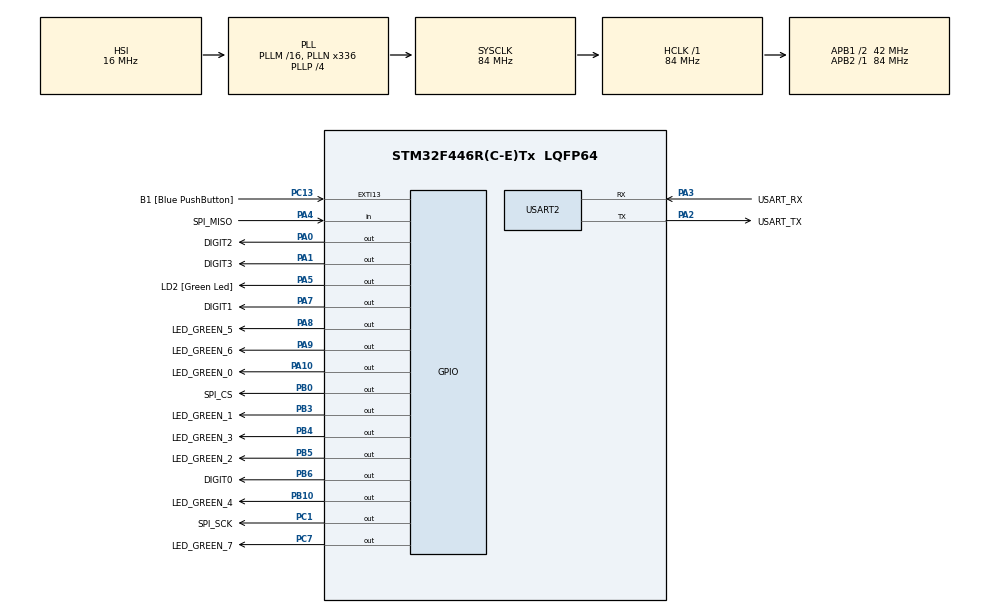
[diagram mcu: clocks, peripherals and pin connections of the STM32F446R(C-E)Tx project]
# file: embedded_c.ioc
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Mcu.Family=STM32F4
Mcu.Name=STM32F446R(C-E)Tx
Mcu.Package=LQFP64
NVIC.PriorityGroup=NVIC_PRIORITYGROUP_0
NVIC.TIM6_DAC_IRQn=true\:0\:0\:false\:false\:true\:true\:true\:true
PA0-WKUP.GPIO_Label=DIGIT2
PA0-WKUP.Signal=GPIO_Output
PA1.GPIO_Label=DIGIT3
PA1.Signal=GPIO_Output
PA10.GPIO_Label=LED_GREEN_0
PA10.Signal=GPIO_Output
PA13.GPIO_Label=TMS
PA13.Mode=Serial_Wire
PA13.Signal=SYS_JTMS-SWDIO
PA14.GPIO_Label=TCK
PA14.Mode=Serial_Wire
PA14.Signal=SYS_JTCK-SWCLK
PA2.GPIO_Label=USART_TX
PA2.Mode=Asynchronous
PA2.Signal=USART2_TX
PA3.GPIO_Label=USART_RX
PA3.Mode=Asynchronous
PA3.Signal=USART2_RX
PA4.GPIO_Label=SPI_MISO
PA4.Signal=GPIO_Input
PA5.GPIO_Label=LD2 [Green Led]
PA5.Signal=GPIO_Output
PA7.GPIO_Label=DIGIT1
PA7.Signal=GPIO_Output
PA8.GPIO_Label=LED_GREEN_5
PA8.Signal=GPIO_Output
PA9.GPIO_Label=LED_GREEN_6
PA9.Signal=GPIO_Output
PB0.GPIO_Label=SPI_CS
PB0.Signal=GPIO_Output
PB10.GPIO_Label=LED_GREEN_4
PB10.Signal=GPIO_Output
PB3.GPIO_Label=LED_GREEN_1
PB3.Signal=GPIO_Output
PB4.GPIO_Label=LED_GREEN_3
PB4.Signal=GPIO_Output
PB5.GPIO_Label=LED_GREEN_2
PB5.Signal=GPIO_Output
PB6.GPIO_Label=DIGIT0
PB6.Signal=GPIO_Output
PC1.GPIO_Label=SPI_SCK
PC1.Signal=GPIO_Output
PC13.GPIO_Label=B1 [Blue PushButton]
PC13.GPIO_ModeDefaultEXTI=GPIO_MODE_IT_FALLING
PC13.Signal=GPXTI13
PC14-OSC32_IN.Mode=LSE-External-Oscillator
PC14-OSC32_IN.Signal=RCC_OSC32_IN
PC15-OSC32_OUT.Mode=LSE-External-Oscillator
PC15-OSC32_OUT.Signal=RCC_OSC32_OUT
PC7.GPIO_Label=LED_GREEN_7
PC7.Signal=GPIO_Output
PH0-OSC_IN.Mode=HSE-External-Oscillator
PH0-OSC_IN.Signal=RCC_OSC_IN
PH1-OSC_OUT.Mode=HSE-External-Oscillator
PH1-OSC_OUT.Signal=RCC_OSC_OUT
ProjectManager.HeapSize=0x1000
ProjectManager.StackSize=0x2000
ProjectManager.TargetToolchain=STM32CubeIDE
RCC.48MHZClocksFreq_Value=84000000
RCC.AHBFreq_Value=84000000
RCC.APB1CLKDivider=RCC_HCLK_DIV2
RCC.APB1Freq_Value=42000000
RCC.APB1TimFreq_Value=84000000
RCC.APB2Freq_Value=84000000
RCC.APB2TimFreq_Value=84000000
RCC.CortexFreq_Value=84000000
RCC.FLatency-AdvancedSettings=FLASH_LATENCY_2
RCC.HCLKFreq_Value=84000000
RCC.HSE_VALUE=8000000
RCC.HSI_VALUE=16000000
RCC.PLLN=336
RCC.PLLP=RCC_PLLP_DIV4
RCC.SYSCLKFreq_VALUE=84000000
RCC.SYSCLKSource=RCC_SYSCLKSOURCE_PLLCLK
RCC.USBFreq_Value=168000000
RCC.VCOOutputFreq_Value=336000000
TIM6.Period=9
TIM6.Prescaler=1049
USART2.VirtualMode=VM_ASYNC
VP_TIM6_VS_ClockSourceINT.Mode=Enable_Timer
board=NUCLEO-F446RE

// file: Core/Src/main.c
/* USER CODE BEGIN Header */
/**
  ******************************************************************************
  * @file           : main.c
  * @brief          : Main program body
  ******************************************************************************
  * @attention
  *
  * Copyright (c) 2025 STMicroelectronics.
  * All rights reserved.
  *
  * This software is licensed under terms that can be found in the LICENSE file
  * in the root directory of this software component.
  * If no LICENSE file comes with this software, it is provided AS-IS.
  *
  ******************************************************************************
  */
/* USER CODE END Header */
#include "main.h"

/* USER CODE BEGIN Includes */
#include <stdio.h>
#include <stdbool.h>
#include <stdint.h>
#include <math.h>

#include "seven_seg.h"
#include "max6675.h"
/* USER CODE END Includes */

TIM_HandleTypeDef htim6;

UART_HandleTypeDef huart2;

void SystemClock_Config(void);
static void MX_GPIO_Init(void);
static void MX_USART2_UART_Init(void);
static void MX_TIM6_Init(void);

/* USER CODE BEGIN 0 */
uint16_t cntr = 0;

/* USER CODE END 0 */

int main(void)
{

  /* MCU Configuration--------------------------------------------------------*/

  /* Reset of all peripherals, Initializes the Flash interface and the Systick. */
  HAL_Init();

  /* Configure the system clock */
  SystemClock_Config();

  /* Initialize all configured peripherals */
  MX_GPIO_Init();
  MX_USART2_UART_Init();
  MX_TIM6_Init();
  /* USER CODE BEGIN 2 */
  HAL_GPIO_WritePin(DIGIT0_GPIO_Port, DIGIT0_Pin, GPIO_PIN_SET);
  HAL_GPIO_WritePin(DIGIT1_GPIO_Port, DIGIT1_Pin, GPIO_PIN_SET);
  HAL_GPIO_WritePin(DIGIT2_GPIO_Port, DIGIT2_Pin, GPIO_PIN_SET);
  HAL_GPIO_WritePin(DIGIT3_GPIO_Port, DIGIT3_Pin, GPIO_PIN_SET);
  HAL_GPIO_WritePin(SPI_CS_GPIO_Port, SPI_CS_Pin, GPIO_PIN_SET);
  HAL_TIM_Base_Start_IT(&htim6);
  /* USER CODE END 2 */

  /* Infinite loop */
  /* USER CODE BEGIN WHILE */
  while (1)
  {
    float temp_C = TEMP_read();
    if (temp_C < 100.0f)
    {
    	SSD_printDecFloat(temp_C, 2);
    }
    else if (temp_C < 1000.0f)
    {
    	SSD_printDecFloat(temp_C, 1);
    }
    else
    {
    	SSD_printDecInt16(temp_C);
    }

    SSD_triggerUpdate = true;
	cntr++;
    HAL_Delay(500);
    /* USER CODE END WHILE */

  }
}

void SystemClock_Config(void)
{
  RCC_OscInitTypeDef RCC_OscInitStruct = {0};
  RCC_ClkInitTypeDef RCC_ClkInitStruct = {0};

  /** Configure the main internal regulator output voltage
  */
  __HAL_RCC_PWR_CLK_ENABLE();
  __HAL_PWR_VOLTAGESCALING_CONFIG(PWR_REGULATOR_VOLTAGE_SCALE3);

  /** Initializes the RCC Oscillators according to the specified parameters
  * in the RCC_OscInitTypeDef structure.
  */
  RCC_OscInitStruct.OscillatorType = RCC_OSCILLATORTYPE_HSI;
  RCC_OscInitStruct.HSIState = RCC_HSI_ON;
  RCC_OscInitStruct.HSICalibrationValue = RCC_HSICALIBRATION_DEFAULT;
  RCC_OscInitStruct.PLL.PLLState = RCC_PLL_ON;
  RCC_OscInitStruct.PLL.PLLSource = RCC_PLLSOURCE_HSI;
  RCC_OscInitStruct.PLL.PLLM = 16;
  RCC_OscInitStruct.PLL.PLLN = 336;
  RCC_OscInitStruct.PLL.PLLP = RCC_PLLP_DIV4;
  RCC_OscInitStruct.PLL.PLLQ = 2;
  RCC_OscInitStruct.PLL.PLLR = 2;
  if (HAL_RCC_OscConfig(&RCC_OscInitStruct) != HAL_OK)
  {
    Error_Handler();
  }

  /** Initializes the CPU, AHB and APB buses clocks
  */
  RCC_ClkInitStruct.ClockType = RCC_CLOCKTYPE_HCLK|RCC_CLOCKTYPE_SYSCLK
                              |RCC_CLOCKTYPE_PCLK1|RCC_CLOCKTYPE_PCLK2;
  RCC_ClkInitStruct.SYSCLKSource = RCC_SYSCLKSOURCE_PLLCLK;
  RCC_ClkInitStruct.AHBCLKDivider = RCC_SYSCLK_DIV1;
  RCC_ClkInitStruct.APB1CLKDivider = RCC_HCLK_DIV2;
  RCC_ClkInitStruct.APB2CLKDivider = RCC_HCLK_DIV1;

  if (HAL_RCC_ClockConfig(&RCC_ClkInitStruct, FLASH_LATENCY_2) != HAL_OK)
  {
    Error_Handler();
  }
}

static void MX_TIM6_Init(void)
{

  TIM_MasterConfigTypeDef sMasterConfig = {0};

  htim6.Instance = TIM6;
  htim6.Init.Prescaler = 1049;
  htim6.Init.CounterMode = TIM_COUNTERMODE_UP;
  htim6.Init.Period = 9;
  htim6.Init.AutoReloadPreload = TIM_AUTORELOAD_PRELOAD_DISABLE;
  if (HAL_TIM_Base_Init(&htim6) != HAL_OK)
  {
    Error_Handler();
  }
  sMasterConfig.MasterOutputTrigger = TIM_TRGO_RESET;
  sMasterConfig.MasterSlaveMode = TIM_MASTERSLAVEMODE_DISABLE;
  if (HAL_TIMEx_MasterConfigSynchronization(&htim6, &sMasterConfig) != HAL_OK)
  {
    Error_Handler();
  }

}

static void MX_USART2_UART_Init(void)
{

  huart2.Instance = USART2;
  huart2.Init.BaudRate = 115200;
  huart2.Init.WordLength = UART_WORDLENGTH_8B;
  huart2.Init.StopBits = UART_STOPBITS_1;
  huart2.Init.Parity = UART_PARITY_NONE;
  huart2.Init.Mode = UART_MODE_TX_RX;
  huart2.Init.HwFlowCtl = UART_HWCONTROL_NONE;
  huart2.Init.OverSampling = UART_OVERSAMPLING_16;
  if (HAL_UART_Init(&huart2) != HAL_OK)
  {
    Error_Handler();
  }

}

static void MX_GPIO_Init(void)
{
  GPIO_InitTypeDef GPIO_InitStruct = {0};

  /* GPIO Ports Clock Enable */
  __HAL_RCC_GPIOC_CLK_ENABLE();
  __HAL_RCC_GPIOH_CLK_ENABLE();
  __HAL_RCC_GPIOA_CLK_ENABLE();
  __HAL_RCC_GPIOB_CLK_ENABLE();

  /*Configure GPIO pin Output Level */
  HAL_GPIO_WritePin(GPIOC, SPI_SCK_Pin|LED_GREEN_7_Pin, GPIO_PIN_RESET);

  /*Configure GPIO pin Output Level */
  HAL_GPIO_WritePin(GPIOA, DIGIT2_Pin|DIGIT3_Pin|LD2_Pin|DIGIT1_Pin
                          |LED_GREEN_5_Pin|LED_GREEN_6_Pin|LED_GREEN_0_Pin, GPIO_PIN_RESET);

  /*Configure GPIO pin Output Level */
  HAL_GPIO_WritePin(GPIOB, SPI_CS_Pin|LED_GREEN_4_Pin|LED_GREEN_1_Pin|LED_GREEN_3_Pin
                          |LED_GREEN_2_Pin|DIGIT0_Pin, GPIO_PIN_RESET);

  /*Configure GPIO pin : B1_Pin */
  GPIO_InitStruct.Pin = B1_Pin;
  GPIO_InitStruct.Mode = GPIO_MODE_IT_FALLING;
  GPIO_InitStruct.Pull = GPIO_NOPULL;
  HAL_GPIO_Init(B1_GPIO_Port, &GPIO_InitStruct);

  /*Configure GPIO pins : SPI_SCK_Pin LED_GREEN_7_Pin */
  GPIO_InitStruct.Pin = SPI_SCK_Pin|LED_GREEN_7_Pin;
  GPIO_InitStruct.Mode = GPIO_MODE_OUTPUT_PP;
  GPIO_InitStruct.Pull = GPIO_NOPULL;
  GPIO_InitStruct.Speed = GPIO_SPEED_FREQ_LOW;
  HAL_GPIO_Init(GPIOC, &GPIO_InitStruct);

  /*Configure GPIO pins : DIGIT2_Pin DIGIT3_Pin LD2_Pin DIGIT1_Pin
                           LED_GREEN_5_Pin LED_GREEN_6_Pin LED_GREEN_0_Pin */
  GPIO_InitStruct.Pin = DIGIT2_Pin|DIGIT3_Pin|LD2_Pin|DIGIT1_Pin
                          |LED_GREEN_5_Pin|LED_GREEN_6_Pin|LED_GREEN_0_Pin;
  GPIO_InitStruct.Mode = GPIO_MODE_OUTPUT_PP;
  GPIO_InitStruct.Pull = GPIO_NOPULL;
  GPIO_InitStruct.Speed = GPIO_SPEED_FREQ_LOW;
  HAL_GPIO_Init(GPIOA, &GPIO_InitStruct);

  /*Configure GPIO pin : SPI_MISO_Pin */
  GPIO_InitStruct.Pin = SPI_MISO_Pin;
  GPIO_InitStruct.Mode = GPIO_MODE_INPUT;
  GPIO_InitStruct.Pull = GPIO_NOPULL;
  HAL_GPIO_Init(SPI_MISO_GPIO_Port, &GPIO_InitStruct);

  /*Configure GPIO pins : SPI_CS_Pin LED_GREEN_4_Pin LED_GREEN_1_Pin LED_GREEN_3_Pin
                           LED_GREEN_2_Pin DIGIT0_Pin */
  GPIO_InitStruct.Pin = SPI_CS_Pin|LED_GREEN_4_Pin|LED_GREEN_1_Pin|LED_GREEN_3_Pin
                          |LED_GREEN_2_Pin|DIGIT0_Pin;
  GPIO_InitStruct.Mode = GPIO_MODE_OUTPUT_PP;
  GPIO_InitStruct.Pull = GPIO_NOPULL;
  GPIO_InitStruct.Speed = GPIO_SPEED_FREQ_LOW;
  HAL_GPIO_Init(GPIOB, &GPIO_InitStruct);

}

void Error_Handler(void)
{
  __disable_irq();
  while (1)
  {
  }
}
